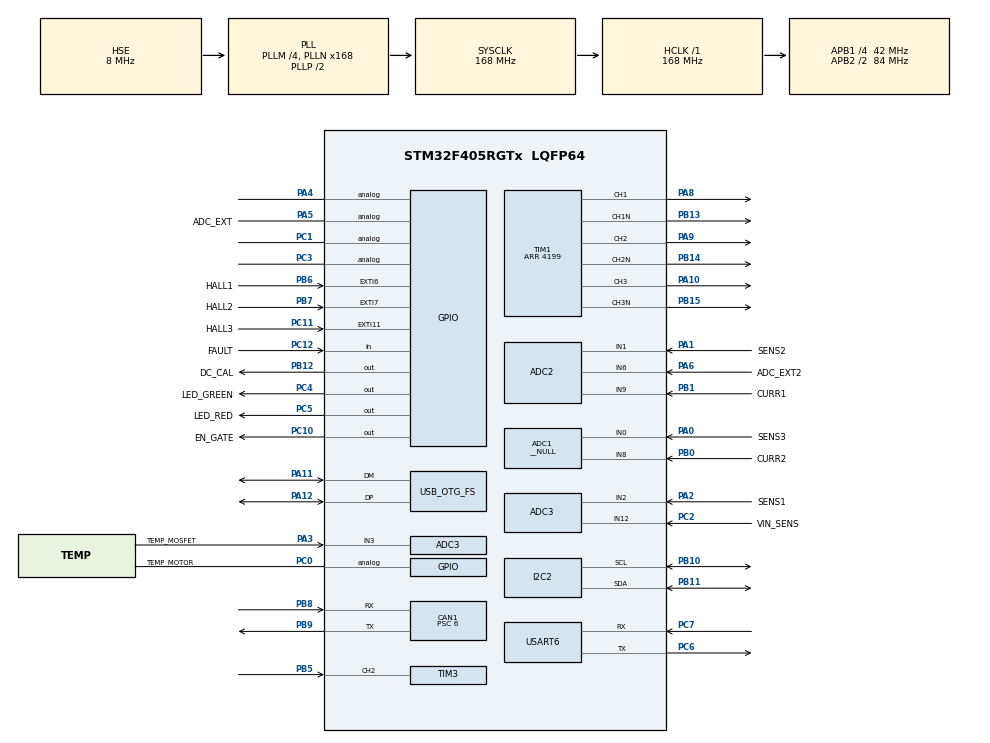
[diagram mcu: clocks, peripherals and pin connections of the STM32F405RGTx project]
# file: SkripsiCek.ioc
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ADC1.Channel-0\#ChannelRegularConversion=ADC_CHANNEL_0
ADC1.Channel-2\#ChannelRegularConversion=ADC_CHANNEL_8
ADC1.Channel-3\#ChannelRegularConversion=ADC_CHANNEL_VREFINT
ADC1.ClockPrescaler=ADC_CLOCK_SYNC_PCLK_DIV6
ADC1.ContinuousConvMode=DISABLE
ADC1.DMAContinuousRequests=ENABLE
ADC1.ExternalTrigConv=ADC_EXTERNALTRIGCONV_T2_CC2
ADC1.ExternalTrigConvEdge=ADC_EXTERNALTRIGCONVEDGE_RISING
ADC1.InjNumberOfConversion=0
ADC1.Mode=__NULL
ADC1.NbrOfConversion=3
ADC1.NbrOfConversionFlag=1
ADC1.Rank-0\#ChannelRegularConversion=1
ADC1.Rank-2\#ChannelRegularConversion=2
ADC1.Rank-3\#ChannelRegularConversion=3
ADC1.SamplingTime-0\#ChannelRegularConversion=ADC_SAMPLETIME_15CYCLES
ADC1.SamplingTime-2\#ChannelRegularConversion=ADC_SAMPLETIME_15CYCLES
ADC1.SamplingTime-3\#ChannelRegularConversion=ADC_SAMPLETIME_144CYCLES
ADC1.ScanConvMode=ENABLE
ADC1.master=1
ADC2.Channel-1\#ChannelRegularConversion=ADC_CHANNEL_1
ADC2.Channel-2\#ChannelRegularConversion=ADC_CHANNEL_9
ADC2.Channel-3\#ChannelRegularConversion=ADC_CHANNEL_6
ADC2.ClockPrescaler=ADC_CLOCK_SYNC_PCLK_DIV6
ADC2.DMAContinuousRequests=ENABLE
ADC2.ExternalTrigConv=ADC_EXTERNALTRIGCONV_T2_CC2
ADC2.InjNumberOfConversion=0
ADC2.NbrOfConversion=3
ADC2.NbrOfConversionFlag=1
ADC2.Rank-1\#ChannelRegularConversion=1
ADC2.Rank-2\#ChannelRegularConversion=2
ADC2.Rank-3\#ChannelRegularConversion=3
ADC2.SamplingTime-1\#ChannelRegularConversion=ADC_SAMPLETIME_15CYCLES
ADC2.SamplingTime-2\#ChannelRegularConversion=ADC_SAMPLETIME_15CYCLES
ADC2.SamplingTime-3\#ChannelRegularConversion=ADC_SAMPLETIME_15CYCLES
ADC3.Channel-0\#ChannelRegularConversion=ADC_CHANNEL_2
ADC3.Channel-1\#ChannelRegularConversion=ADC_CHANNEL_3
ADC3.Channel-2\#ChannelRegularConversion=ADC_CHANNEL_12
ADC3.ClockPrescaler=ADC_CLOCK_SYNC_PCLK_DIV6
ADC3.DMAContinuousRequests=ENABLE
ADC3.ExternalTrigConv=ADC_EXTERNALTRIGCONV_T2_CC2
ADC3.ExternalTrigConvEdge=ADC_EXTERNALTRIGCONVEDGE_RISING
ADC3.NbrOfConversion=3
ADC3.NbrOfConversionFlag=1
ADC3.Rank-0\#ChannelRegularConversion=1
ADC3.Rank-1\#ChannelRegularConversion=2
ADC3.Rank-2\#ChannelRegularConversion=3
ADC3.SamplingTime-0\#ChannelRegularConversion=ADC_SAMPLETIME_15CYCLES
ADC3.SamplingTime-1\#ChannelRegularConversion=ADC_SAMPLETIME_15CYCLES
ADC3.SamplingTime-2\#ChannelRegularConversion=ADC_SAMPLETIME_15CYCLES
ADC3.ScanConvMode=ENABLE
CAN1.BS1=CAN_BS1_10TQ
CAN1.BS2=CAN_BS2_3TQ
CAN1.CalculateBaudRate=500000
CAN1.CalculateTimeBit=2000
CAN1.CalculateTimeQuantum=142.85714285714286
CAN1.Prescaler=6
Dma.ADC1.0.Direction=DMA_PERIPH_TO_MEMORY
Dma.ADC1.0.FIFOMode=DMA_FIFOMODE_DISABLE
Dma.ADC1.0.Instance=DMA2_Stream4
Dma.ADC1.0.MemDataAlignment=DMA_MDATAALIGN_HALFWORD
Dma.ADC1.0.MemInc=DMA_MINC_ENABLE
Dma.ADC1.0.Mode=DMA_CIRCULAR
Dma.ADC1.0.PeriphDataAlignment=DMA_PDATAALIGN_HALFWORD
Dma.ADC1.0.PeriphInc=DMA_PINC_DISABLE
Dma.ADC1.0.Priority=DMA_PRIORITY_VERY_HIGH
Dma.ADC2.2.Direction=DMA_PERIPH_TO_MEMORY
Dma.ADC2.2.FIFOMode=DMA_FIFOMODE_DISABLE
Dma.ADC2.2.Instance=DMA2_Stream2
Dma.ADC2.2.MemDataAlignment=DMA_MDATAALIGN_HALFWORD
Dma.ADC2.2.MemInc=DMA_MINC_ENABLE
Dma.ADC2.2.Mode=DMA_CIRCULAR
Dma.ADC2.2.PeriphDataAlignment=DMA_PDATAALIGN_HALFWORD
Dma.ADC2.2.PeriphInc=DMA_PINC_DISABLE
Dma.ADC2.2.Priority=DMA_PRIORITY_VERY_HIGH
Dma.ADC3.1.Direction=DMA_PERIPH_TO_MEMORY
Dma.ADC3.1.FIFOMode=DMA_FIFOMODE_DISABLE
Dma.ADC3.1.Instance=DMA2_Stream1
Dma.ADC3.1.MemDataAlignment=DMA_MDATAALIGN_HALFWORD
Dma.ADC3.1.MemInc=DMA_MINC_ENABLE
Dma.ADC3.1.Mode=DMA_CIRCULAR
Dma.ADC3.1.PeriphDataAlignment=DMA_PDATAALIGN_HALFWORD
Dma.ADC3.1.PeriphInc=DMA_PINC_DISABLE
Dma.ADC3.1.Priority=DMA_PRIORITY_VERY_HIGH
Dma.Request0=ADC1
Dma.Request1=ADC3
Dma.Request2=ADC2
Mcu.Family=STM32F4
Mcu.Name=STM32F405RGTx
Mcu.Package=LQFP64
NVIC.DMA2_Stream1_IRQn=true\:0\:0\:false\:false\:true\:false\:true\:true
NVIC.DMA2_Stream2_IRQn=true\:0\:0\:false\:false\:true\:false\:true\:true
NVIC.DMA2_Stream4_IRQn=true\:0\:0\:false\:false\:true\:false\:true\:true
NVIC.EXTI15_10_IRQn=true\:5\:0\:true\:false\:true\:true\:true\:true
NVIC.EXTI9_5_IRQn=true\:5\:0\:true\:false\:true\:true\:true\:true
NVIC.PriorityGroup=NVIC_PRIORITYGROUP_4
NVIC.USART6_IRQn=true\:0\:0\:false\:false\:true\:true\:true\:true
PA0-WKUP.GPIO_Label=SENS3
PA0-WKUP.Signal=SharedAnalog_PA0
PA1.GPIO_Label=SENS2
PA1.Signal=SharedAnalog_PA1
PA10.GPIO_Speed=GPIO_SPEED_FREQ_VERY_HIGH
PA10.Signal=S_TIM1_CH3
PA11.Mode=Device_Only
PA11.Signal=USB_OTG_FS_DM
PA12.Mode=Device_Only
PA12.Signal=USB_OTG_FS_DP
PA13.Mode=Serial_Wire
PA13.Signal=SYS_JTMS-SWDIO
PA14.Mode=Serial_Wire
PA14.Signal=SYS_JTCK-SWCLK
PA2.GPIO_Label=SENS1
PA2.Signal=SharedAnalog_PA2
PA3.GPIO_Label=TEMP_MOSFET
PA3.Signal=SharedAnalog_PA3
PA4.Signal=SharedAnalog_PA4
PA5.GPIO_Label=ADC_EXT
PA5.Signal=SharedAnalog_PA5
PA6.GPIO_Label=ADC_EXT2
PA6.Signal=SharedAnalog_PA6
PA8.GPIO_Speed=GPIO_SPEED_FREQ_VERY_HIGH
PA8.Signal=S_TIM1_CH1
PA9.GPIO_Speed=GPIO_SPEED_FREQ_VERY_HIGH
PA9.Signal=S_TIM1_CH2
PB0.GPIO_Label=CURR2
PB0.Signal=SharedAnalog_PB0
PB1.GPIO_Label=CURR1
PB1.Signal=SharedAnalog_PB1
PB10.GPIO_Pu=GPIO_PULLUP
PB10.GPIO_Speed=GPIO_SPEED_FREQ_MEDIUM
PB10.Mode=I2C
PB10.Signal=I2C2_SCL
PB11.GPIO_Pu=GPIO_PULLUP
PB11.GPIO_Speed=GPIO_SPEED_FREQ_MEDIUM
PB11.Mode=I2C
PB11.Signal=I2C2_SDA
PB12.GPIO_Label=DC_CAL
PB12.GPIO_Speed=GPIO_SPEED_FREQ_VERY_HIGH
PB12.Signal=GPIO_Output
PB13.GPIO_Speed=GPIO_SPEED_FREQ_VERY_HIGH
PB13.Mode=PWM Generation1 CH1 CH1N
PB13.Signal=TIM1_CH1N
PB14.GPIO_Speed=GPIO_SPEED_FREQ_VERY_HIGH
PB14.Mode=PWM Generation2 CH2 CH2N
PB14.Signal=TIM1_CH2N
PB15.GPIO_Speed=GPIO_SPEED_FREQ_VERY_HIGH
PB15.Mode=PWM Generation3 CH3 CH3N
PB15.Signal=TIM1_CH3N
PB5.Signal=S_TIM3_CH2
PB6.GPIO_Label=HALL1
PB6.GPIO_ModeDefaultEXTI=GPIO_MODE_IT_RISING_FALLING
PB6.GPIO_PuPd=GPIO_PULLUP
PB6.Signal=GPXTI6
PB7.GPIO_Label=HALL2
PB7.GPIO_ModeDefaultEXTI=GPIO_MODE_IT_RISING_FALLING
PB7.GPIO_PuPd=GPIO_PULLUP
PB7.Signal=GPXTI7
PB8.Mode=CAN_Activate
PB8.Signal=CAN1_RX
PB9.Mode=CAN_Activate
PB9.Signal=CAN1_TX
PC0.GPIO_Label=TEMP_MOTOR
PC0.Signal=SharedAnalog_PC0
PC1.Signal=GPIO_Analog
PC10.GPIO_Label=EN_GATE
PC10.GPIO_Speed=GPIO_SPEED_FREQ_VERY_HIGH
PC10.Signal=GPIO_Output
PC11.GPIO_Label=HALL3
PC11.GPIO_ModeDefaultEXTI=GPIO_MODE_IT_RISING_FALLING
PC11.GPIO_PuPd=GPIO_PULLUP
PC11.Signal=GPXTI11
PC12.GPIO_Label=FAULT
PC12.GPIO_PuPd=GPIO_PULLUP
PC12.Signal=GPIO_Input
PC2.GPIO_Label=VIN_SENS
PC2.Signal=SharedAnalog_PC2
PC3.Signal=GPIO_Analog
PC4.GPIO_Label=LED_GREEN
PC4.GPIO_Speed=GPIO_SPEED_FREQ_VERY_HIGH
PC4.Signal=GPIO_Output
PC5.GPIO_Label=LED_RED
PC5.GPIO_Speed=GPIO_SPEED_FREQ_VERY_HIGH
PC5.Signal=GPIO_Output
PC6.Mode=Asynchronous
PC6.Signal=USART6_TX
PC7.Mode=Asynchronous
PC7.Signal=USART6_RX
PH0-OSC_IN.Mode=HSE-External-Oscillator
PH0-OSC_IN.Signal=RCC_OSC_IN
PH1-OSC_OUT.Mode=HSE-External-Oscillator
PH1-OSC_OUT.Signal=RCC_OSC_OUT
ProjectManager.HeapSize=0x200
ProjectManager.StackSize=0x400
ProjectManager.TargetToolchain=STM32CubeIDE
RCC.48MHZClocksFreq_Value=48000000
RCC.AHBFreq_Value=168000000
RCC.APB1CLKDivider=RCC_HCLK_DIV4
RCC.APB1Freq_Value=42000000
RCC.APB1TimFreq_Value=84000000
RCC.APB2CLKDivider=RCC_HCLK_DIV2
RCC.APB2Freq_Value=84000000
RCC.APB2TimFreq_Value=168000000
RCC.CortexFreq_Value=168000000
RCC.HCLKFreq_Value=168000000
RCC.HSE_VALUE=8000000
RCC.HSI_VALUE=16000000
RCC.LSE_VALUE=32768
RCC.PLLM=4
RCC.PLLN=168
RCC.PLLQ=7
RCC.SYSCLKFreq_VALUE=168000000
RCC.SYSCLKSource=RCC_SYSCLKSOURCE_PLLCLK
RCC.VCOOutputFreq_Value=336000000
SH.S_TIM1_CH1.0=TIM1_CH1,PWM Generation1 CH1 CH1N
SH.S_TIM1_CH2.0=TIM1_CH2,PWM Generation2 CH2 CH2N
SH.S_TIM1_CH3.0=TIM1_CH3,PWM Generation3 CH3 CH3N
SH.S_TIM3_CH2.0=TIM3_CH2,Input_Capture2_from_TI2
SH.SharedAnalog_PA0.0=GPIO_Analog
SH.SharedAnalog_PA0.1=ADC1_IN0,IN0
SH.SharedAnalog_PA1.0=GPIO_Analog
SH.SharedAnalog_PA1.1=ADC2_IN1,IN1
SH.SharedAnalog_PA2.0=GPIO_Analog
SH.SharedAnalog_PA2.1=ADC3_IN2,IN2
SH.SharedAnalog_PA3.0=GPIO_Analog
SH.SharedAnalog_PA3.1=ADC3_IN3,IN3
SH.SharedAnalog_PA4.0=GPIO_Analog
SH.SharedAnalog_PA4.1=ADC1_IN4
SH.SharedAnalog_PA5.0=GPIO_Analog
SH.SharedAnalog_PA5.1=ADC2_IN5
SH.SharedAnalog_PA6.0=GPIO_Analog
SH.SharedAnalog_PA6.1=ADC2_IN6,IN6
SH.SharedAnalog_PB0.0=GPIO_Analog
SH.SharedAnalog_PB0.1=ADC1_IN8,IN8
SH.SharedAnalog_PB1.0=GPIO_Analog
SH.SharedAnalog_PB1.1=ADC2_IN9,IN9
SH.SharedAnalog_PC0.0=GPIO_Analog
SH.SharedAnalog_PC0.1=ADC3_IN10
SH.SharedAnalog_PC2.0=GPIO_Analog
SH.SharedAnalog_PC2.1=ADC3_IN12,IN12
TIM1.AutoReloadPreload=TIM_AUTORELOAD_PRELOAD_ENABLE
TIM1.AutomaticOutput=TIM_AUTOMATICOUTPUT_DISABLE
TIM1.Channel-PWM\ Generation1\ CH1\ CH1N=TIM_CHANNEL_1
TIM1.Channel-PWM\ Generation2\ CH2\ CH2N=TIM_CHANNEL_2
TIM1.Channel-PWM\ Generation3\ CH3\ CH3N=TIM_CHANNEL_3
TIM1.CounterMode=TIM_COUNTERMODE_CENTERALIGNED1
TIM1.DeadTime=86
TIM1.OffStateRunMode=TIM_OSSR_DISABLE
TIM1.Period=4199
TIM1.Pulse-PWM\ Generation1\ CH1\ CH1N=840
TIM1.Pulse-PWM\ Generation2\ CH2\ CH2N=840
TIM1.Pulse-PWM\ Generation3\ CH3\ CH3N=840
TIM1.RepetitionCounter=1
TIM1.TIM_MasterOutputTrigger=TIM_TRGO_UPDATE
TIM1.TIM_MasterSlaveMode=TIM_MASTERSLAVEMODE_ENABLE
TIM2.Channel-PWM\ Generation2\ No\ Output=TIM_CHANNEL_2
TIM2.OCMode_PWM-PWM\ Generation2\ No\ Output=TIM_OCMODE_PWM2
TIM2.Period=4199
TIM2.Pulse-PWM\ Generation2\ No\ Output=1800
TIM2.TIM_MasterOutputTrigger=TIM_TRGO_OC2REF
TIM2.TIM_MasterSlaveMode=TIM_MASTERSLAVEMODE_DISABLE
TIM3.Channel-Input_Capture2_from_TI2=TIM_CHANNEL_2
TIM3.Prescaler=83
TIM5.Prescaler=83
USART6.VirtualMode=VM_ASYNC
USB_OTG_FS.VirtualMode=Device_Only
VP_ADC1_Vref_Input.Mode=IN-Vrefint
VP_TIM1_VS_ClockSourceINT.Mode=Internal
VP_TIM2_VS_ClockSourceINT.Mode=Internal
VP_TIM2_VS_ClockSourceITR.Mode=TriggerSource_ITR0
VP_TIM2_VS_ControllerModeReset.Mode=Reset Mode
VP_TIM2_VS_no_output2.Mode=PWM Generation2 No Output
VP_TIM3_VS_ClockSourceINT.Mode=Internal
VP_TIM5_VS_ClockSourceINT.Mode=Internal
board=custom

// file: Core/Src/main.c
/* USER CODE BEGIN Header */
/**
  ******************************************************************************
  * @file           : main.c
  * @brief          : Main program body
  ******************************************************************************
  * @attention
  *
  * Copyright (c) 2025 STMicroelectronics.
  * All rights reserved.
  *
  * This software is licensed under terms that can be found in the LICENSE file
  * in the root directory of this software component.
  * If no LICENSE file comes with this software, it is provided AS-IS.
  *
  ******************************************************************************
  */
/* USER CODE END Header */
#include "main.h"

/* USER CODE BEGIN Includes */

#include <stdio.h>
#include <string.h>
#include <stdlib.h>
#include <math.h>
#include "phase2_test.h"
#include "adc_sense.h"
#include "hall_sensor.h"

/* USER CODE END Includes */

ADC_HandleTypeDef hadc1;
ADC_HandleTypeDef hadc2;
ADC_HandleTypeDef hadc3;
DMA_HandleTypeDef hdma_adc1;
DMA_HandleTypeDef hdma_adc2;
DMA_HandleTypeDef hdma_adc3;

CAN_HandleTypeDef hcan1;

I2C_HandleTypeDef hi2c2;

TIM_HandleTypeDef htim1;
TIM_HandleTypeDef htim2;
TIM_HandleTypeDef htim3;
TIM_HandleTypeDef htim5;

UART_HandleTypeDef huart6;

PCD_HandleTypeDef hpcd_USB_OTG_FS;

void SystemClock_Config(void);
static void MX_GPIO_Init(void);
static void MX_DMA_Init(void);
static void MX_ADC1_Init(void);
static void MX_ADC2_Init(void);
static void MX_ADC3_Init(void);
static void MX_CAN1_Init(void);
static void MX_I2C2_Init(void);
static void MX_TIM1_Init(void);
static void MX_TIM3_Init(void);
static void MX_USART6_UART_Init(void);
static void MX_USB_OTG_FS_PCD_Init(void);
static void MX_TIM2_Init(void);
static void MX_TIM5_Init(void);

int main(void)
{

  /* MCU Configuration--------------------------------------------------------*/

  /* Reset of all peripherals, Initializes the Flash interface and the Systick. */
  HAL_Init();

  /* Configure the system clock */
  SystemClock_Config();

  /* Initialize all configured peripherals */
  MX_GPIO_Init();
  MX_DMA_Init();
  MX_ADC1_Init();
  MX_ADC2_Init();
  MX_ADC3_Init();
  MX_CAN1_Init();
  MX_I2C2_Init();
  MX_TIM1_Init();
  MX_TIM3_Init();
  MX_USART6_UART_Init();
  MX_USB_OTG_FS_PCD_Init();
  MX_TIM2_Init();
  MX_TIM5_Init();
  /* USER CODE BEGIN 2 */
  if (HAL_TIM_Base_Start(&htim5) != HAL_OK)
  {
      Error_Handler();
  }

  Hall_Init();

  adc_sense_init();

  phase2_test_init(&huart6);

  if (adc_sense_start() != HAL_OK)
  {
      Error_Handler();
  }

  /* USER CODE END 2 */

  /* Infinite loop */
  /* USER CODE BEGIN WHILE */
  while (1)
  {
	  phase2_test_poll();
    /* USER CODE END WHILE */

  }
}

void SystemClock_Config(void)
{
  RCC_OscInitTypeDef RCC_OscInitStruct = {0};
  RCC_ClkInitTypeDef RCC_ClkInitStruct = {0};

  /** Configure the main internal regulator output voltage
  */
  __HAL_RCC_PWR_CLK_ENABLE();
  __HAL_PWR_VOLTAGESCALING_CONFIG(PWR_REGULATOR_VOLTAGE_SCALE1);

  /** Initializes the RCC Oscillators according to the specified parameters
  * in the RCC_OscInitTypeDef structure.
  */
  RCC_OscInitStruct.OscillatorType = RCC_OSCILLATORTYPE_HSE;
  RCC_OscInitStruct.HSEState = RCC_HSE_ON;
  RCC_OscInitStruct.PLL.PLLState = RCC_PLL_ON;
  RCC_OscInitStruct.PLL.PLLSource = RCC_PLLSOURCE_HSE;
  RCC_OscInitStruct.PLL.PLLM = 4;
  RCC_OscInitStruct.PLL.PLLN = 168;
  RCC_OscInitStruct.PLL.PLLP = RCC_PLLP_DIV2;
  RCC_OscInitStruct.PLL.PLLQ = 7;
  if (HAL_RCC_OscConfig(&RCC_OscInitStruct) != HAL_OK)
  {
    Error_Handler();
  }

  /** Initializes the CPU, AHB and APB buses clocks
  */
  RCC_ClkInitStruct.ClockType = RCC_CLOCKTYPE_HCLK|RCC_CLOCKTYPE_SYSCLK
                              |RCC_CLOCKTYPE_PCLK1|RCC_CLOCKTYPE_PCLK2;
  RCC_ClkInitStruct.SYSCLKSource = RCC_SYSCLKSOURCE_PLLCLK;
  RCC_ClkInitStruct.AHBCLKDivider = RCC_SYSCLK_DIV1;
  RCC_ClkInitStruct.APB1CLKDivider = RCC_HCLK_DIV4;
  RCC_ClkInitStruct.APB2CLKDivider = RCC_HCLK_DIV2;

  if (HAL_RCC_ClockConfig(&RCC_ClkInitStruct, FLASH_LATENCY_5) != HAL_OK)
  {
    Error_Handler();
  }
}

static void MX_ADC1_Init(void)
{

  ADC_ChannelConfTypeDef sConfig = {0};

  /** Configure the global features of the ADC (Clock, Resolution, Data Alignment and number of conversion)
  */
  hadc1.Instance = ADC1;
  hadc1.Init.ClockPrescaler = ADC_CLOCK_SYNC_PCLK_DIV6;
  hadc1.Init.Resolution = ADC_RESOLUTION_12B;
  hadc1.Init.ScanConvMode = ENABLE;
  hadc1.Init.ContinuousConvMode = DISABLE;
  hadc1.Init.DiscontinuousConvMode = DISABLE;
  hadc1.Init.ExternalTrigConvEdge = ADC_EXTERNALTRIGCONVEDGE_RISING;
  hadc1.Init.ExternalTrigConv = ADC_EXTERNALTRIGCONV_T2_CC2;
  hadc1.Init.DataAlign = ADC_DATAALIGN_RIGHT;
  hadc1.Init.NbrOfConversion = 3;
  hadc1.Init.DMAContinuousRequests = ENABLE;
  hadc1.Init.EOCSelection = ADC_EOC_SINGLE_CONV;
  if (HAL_ADC_Init(&hadc1) != HAL_OK)
  {
    Error_Handler();
  }

  /** Configure for the selected ADC regular channel its corresponding rank in the sequencer and its sample time.
  */
  sConfig.Channel = ADC_CHANNEL_0;
  sConfig.Rank = 1;
  sConfig.SamplingTime = ADC_SAMPLETIME_15CYCLES;
  if (HAL_ADC_ConfigChannel(&hadc1, &sConfig) != HAL_OK)
  {
    Error_Handler();
  }

  /** Configure for the selected ADC regular channel its corresponding rank in the sequencer and its sample time.
  */
  sConfig.Channel = ADC_CHANNEL_8;
  sConfig.Rank = 2;
  if (HAL_ADC_ConfigChannel(&hadc1, &sConfig) != HAL_OK)
  {
    Error_Handler();
  }

  /** Configure for the selected ADC regular channel its corresponding rank in the sequencer and its sample time.
  */
  sConfig.Channel = ADC_CHANNEL_VREFINT;
  sConfig.Rank = 3;
  sConfig.SamplingTime = ADC_SAMPLETIME_144CYCLES;
  if (HAL_ADC_ConfigChannel(&hadc1, &sConfig) != HAL_OK)
  {
    Error_Handler();
  }

}

static void MX_ADC2_Init(void)
{

  ADC_ChannelConfTypeDef sConfig = {0};

  /** Configure the global features of the ADC (Clock, Resolution, Data Alignment and number of conversion)
  */
  hadc2.Instance = ADC2;
  hadc2.Init.ClockPrescaler = ADC_CLOCK_SYNC_PCLK_DIV6;
  hadc2.Init.Resolution = ADC_RESOLUTION_12B;
  hadc2.Init.ScanConvMode = ENABLE;
  hadc2.Init.ContinuousConvMode = DISABLE;
  hadc2.Init.DiscontinuousConvMode = DISABLE;
  hadc2.Init.ExternalTrigConvEdge = ADC_EXTERNALTRIGCONVEDGE_RISING;
  hadc2.Init.ExternalTrigConv = ADC_EXTERNALTRIGCONV_T2_CC2;
  hadc2.Init.DataAlign = ADC_DATAALIGN_RIGHT;
  hadc2.Init.NbrOfConversion = 3;
  hadc2.Init.DMAContinuousRequests = ENABLE;
  hadc2.Init.EOCSelection = ADC_EOC_SINGLE_CONV;
  if (HAL_ADC_Init(&hadc2) != HAL_OK)
  {
    Error_Handler();
  }

  /** Configure for the selected ADC regular channel its corresponding rank in the sequencer and its sample time.
  */
  sConfig.Channel = ADC_CHANNEL_1;
  sConfig.Rank = 1;
  sConfig.SamplingTime = ADC_SAMPLETIME_15CYCLES;
  if (HAL_ADC_ConfigChannel(&hadc2, &sConfig) != HAL_OK)
  {
    Error_Handler();
  }

  /** Configure for the selected ADC regular channel its corresponding rank in the sequencer and its sample time.
  */
  sConfig.Channel = ADC_CHANNEL_9;
  sConfig.Rank = 2;
  if (HAL_ADC_ConfigChannel(&hadc2, &sConfig) != HAL_OK)
  {
    Error_Handler();
  }

  /** Configure for the selected ADC regular channel its corresponding rank in the sequencer and its sample time.
  */
  sConfig.Channel = ADC_CHANNEL_6;
  sConfig.Rank = 3;
  if (HAL_ADC_ConfigChannel(&hadc2, &sConfig) != HAL_OK)
  {
    Error_Handler();
  }

}

static void MX_ADC3_Init(void)
{

  ADC_ChannelConfTypeDef sConfig = {0};

  /** Configure the global features of the ADC (Clock, Resolution, Data Alignment and number of conversion)
  */
  hadc3.Instance = ADC3;
  hadc3.Init.ClockPrescaler = ADC_CLOCK_SYNC_PCLK_DIV6;
  hadc3.Init.Resolution = ADC_RESOLUTION_12B;
  hadc3.Init.ScanConvMode = ENABLE;
  hadc3.Init.ContinuousConvMode = DISABLE;
  hadc3.Init.DiscontinuousConvMode = DISABLE;
  hadc3.Init.ExternalTrigConvEdge = ADC_EXTERNALTRIGCONVEDGE_RISING;
  hadc3.Init.ExternalTrigConv = ADC_EXTERNALTRIGCONV_T2_CC2;
  hadc3.Init.DataAlign = ADC_DATAALIGN_RIGHT;
  hadc3.Init.NbrOfConversion = 3;
  hadc3.Init.DMAContinuousRequests = ENABLE;
  hadc3.Init.EOCSelection = ADC_EOC_SINGLE_CONV;
  if (HAL_ADC_Init(&hadc3) != HAL_OK)
  {
    Error_Handler();
  }

  /** Configure for the selected ADC regular channel its corresponding rank in the sequencer and its sample time.
  */
  sConfig.Channel = ADC_CHANNEL_2;
  sConfig.Rank = 1;
  sConfig.SamplingTime = ADC_SAMPLETIME_15CYCLES;
  if (HAL_ADC_ConfigChannel(&hadc3, &sConfig) != HAL_OK)
  {
    Error_Handler();
  }

  /** Configure for the selected ADC regular channel its corresponding rank in the sequencer and its sample time.
  */
  sConfig.Channel = ADC_CHANNEL_3;
  sConfig.Rank = 2;
  if (HAL_ADC_ConfigChannel(&hadc3, &sConfig) != HAL_OK)
  {
    Error_Handler();
  }

  /** Configure for the selected ADC regular channel its corresponding rank in the sequencer and its sample time.
  */
  sConfig.Channel = ADC_CHANNEL_12;
  sConfig.Rank = 3;
  if (HAL_ADC_ConfigChannel(&hadc3, &sConfig) != HAL_OK)
  {
    Error_Handler();
  }

}

static void MX_CAN1_Init(void)
{

  hcan1.Instance = CAN1;
  hcan1.Init.Prescaler = 6;
  hcan1.Init.Mode = CAN_MODE_NORMAL;
  hcan1.Init.SyncJumpWidth = CAN_SJW_1TQ;
  hcan1.Init.TimeSeg1 = CAN_BS1_10TQ;
  hcan1.Init.TimeSeg2 = CAN_BS2_3TQ;
  hcan1.Init.TimeTriggeredMode = DISABLE;
  hcan1.Init.AutoBusOff = DISABLE;
  hcan1.Init.AutoWakeUp = DISABLE;
  hcan1.Init.AutoRetransmission = DISABLE;
  hcan1.Init.ReceiveFifoLocked = DISABLE;
  hcan1.Init.TransmitFifoPriority = DISABLE;
  if (HAL_CAN_Init(&hcan1) != HAL_OK)
  {
    Error_Handler();
  }

}

static void MX_I2C2_Init(void)
{

  hi2c2.Instance = I2C2;
  hi2c2.Init.ClockSpeed = 100000;
  hi2c2.Init.DutyCycle = I2C_DUTYCYCLE_2;
  hi2c2.Init.OwnAddress1 = 0;
  hi2c2.Init.AddressingMode = I2C_ADDRESSINGMODE_7BIT;
  hi2c2.Init.DualAddressMode = I2C_DUALADDRESS_DISABLE;
  hi2c2.Init.OwnAddress2 = 0;
  hi2c2.Init.GeneralCallMode = I2C_GENERALCALL_DISABLE;
  hi2c2.Init.NoStretchMode = I2C_NOSTRETCH_DISABLE;
  if (HAL_I2C_Init(&hi2c2) != HAL_OK)
  {
    Error_Handler();
  }

}

static void MX_TIM1_Init(void)
{

  TIM_ClockConfigTypeDef sClockSourceConfig = {0};
  TIM_MasterConfigTypeDef sMasterConfig = {0};
  TIM_OC_InitTypeDef sConfigOC = {0};
  TIM_BreakDeadTimeConfigTypeDef sBreakDeadTimeConfig = {0};

  htim1.Instance = TIM1;
  htim1.Init.Prescaler = 0;
  htim1.Init.CounterMode = TIM_COUNTERMODE_CENTERALIGNED1;
  htim1.Init.Period = 4199;
  htim1.Init.ClockDivision = TIM_CLOCKDIVISION_DIV1;
  htim1.Init.RepetitionCounter = 1;
  htim1.Init.AutoReloadPreload = TIM_AUTORELOAD_PRELOAD_ENABLE;
  if (HAL_TIM_Base_Init(&htim1) != HAL_OK)
  {
    Error_Handler();
  }
  sClockSourceConfig.ClockSource = TIM_CLOCKSOURCE_INTERNAL;
  if (HAL_TIM_ConfigClockSource(&htim1, &sClockSourceConfig) != HAL_OK)
  {
    Error_Handler();
  }
  if (HAL_TIM_PWM_Init(&htim1) != HAL_OK)
  {
    Error_Handler();
  }
  sMasterConfig.MasterOutputTrigger = TIM_TRGO_UPDATE;
  sMasterConfig.MasterSlaveMode = TIM_MASTERSLAVEMODE_ENABLE;
  if (HAL_TIMEx_MasterConfigSynchronization(&htim1, &sMasterConfig) != HAL_OK)
  {
    Error_Handler();
  }
  sConfigOC.OCMode = TIM_OCMODE_PWM1;
  sConfigOC.Pulse = 840;
  sConfigOC.OCPolarity = TIM_OCPOLARITY_HIGH;
  sConfigOC.OCNPolarity = TIM_OCNPOLARITY_HIGH;
  sConfigOC.OCFastMode = TIM_OCFAST_DISABLE;
  sConfigOC.OCIdleState = TIM_OCIDLESTATE_RESET;
  sConfigOC.OCNIdleState = TIM_OCNIDLESTATE_RESET;
  if (HAL_TIM_PWM_ConfigChannel(&htim1, &sConfigOC, TIM_CHANNEL_1) != HAL_OK)
  {
    Error_Handler();
  }
  if (HAL_TIM_PWM_ConfigChannel(&htim1, &sConfigOC, TIM_CHANNEL_2) != HAL_OK)
  {
    Error_Handler();
  }
  if (HAL_TIM_PWM_ConfigChannel(&htim1, &sConfigOC, TIM_CHANNEL_3) != HAL_OK)
  {
    Error_Handler();
  }
  sBreakDeadTimeConfig.OffStateRunMode = TIM_OSSR_DISABLE;
  sBreakDeadTimeConfig.OffStateIDLEMode = TIM_OSSI_DISABLE;
  sBreakDeadTimeConfig.LockLevel = TIM_LOCKLEVEL_OFF;
  sBreakDeadTimeConfig.DeadTime = 86;
  sBreakDeadTimeConfig.BreakState = TIM_BREAK_DISABLE;
  sBreakDeadTimeConfig.BreakPolarity = TIM_BREAKPOLARITY_HIGH;
  sBreakDeadTimeConfig.AutomaticOutput = TIM_AUTOMATICOUTPUT_DISABLE;
  if (HAL_TIMEx_ConfigBreakDeadTime(&htim1, &sBreakDeadTimeConfig) != HAL_OK)
  {
    Error_Handler();
  }
  HAL_TIM_MspPostInit(&htim1);

}

static void MX_TIM2_Init(void)
{

  TIM_ClockConfigTypeDef sClockSourceConfig = {0};
  TIM_SlaveConfigTypeDef sSlaveConfig = {0};
  TIM_MasterConfigTypeDef sMasterConfig = {0};
  TIM_OC_InitTypeDef sConfigOC = {0};

  htim2.Instance = TIM2;
  htim2.Init.Prescaler = 0;
  htim2.Init.CounterMode = TIM_COUNTERMODE_UP;
  htim2.Init.Period = 4199;
  htim2.Init.ClockDivision = TIM_CLOCKDIVISION_DIV1;
  htim2.Init.AutoReloadPreload = TIM_AUTORELOAD_PRELOAD_DISABLE;
  if (HAL_TIM_Base_Init(&htim2) != HAL_OK)
  {
    Error_Handler();
  }
  sClockSourceConfig.ClockSource = TIM_CLOCKSOURCE_INTERNAL;
  if (HAL_TIM_ConfigClockSource(&htim2, &sClockSourceConfig) != HAL_OK)
  {
    Error_Handler();
  }
  if (HAL_TIM_PWM_Init(&htim2) != HAL_OK)
  {
    Error_Handler();
  }
  sSlaveConfig.SlaveMode = TIM_SLAVEMODE_RESET;
  sSlaveConfig.InputTrigger = TIM_TS_ITR0;
  if (HAL_TIM_SlaveConfigSynchro(&htim2, &sSlaveConfig) != HAL_OK)
  {
    Error_Handler();
  }
  sMasterConfig.MasterOutputTrigger = TIM_TRGO_OC2REF;
  sMasterConfig.MasterSlaveMode = TIM_MASTERSLAVEMODE_DISABLE;
  if (HAL_TIMEx_MasterConfigSynchronization(&htim2, &sMasterConfig) != HAL_OK)
  {
    Error_Handler();
  }
  sConfigOC.OCMode = TIM_OCMODE_PWM2;
  sConfigOC.Pulse = 1800;
  sConfigOC.OCPolarity = TIM_OCPOLARITY_HIGH;
  sConfigOC.OCFastMode = TIM_OCFAST_DISABLE;
  if (HAL_TIM_PWM_ConfigChannel(&htim2, &sConfigOC, TIM_CHANNEL_2) != HAL_OK)
  {
    Error_Handler();
  }

}

static void MX_TIM3_Init(void)
{

  TIM_ClockConfigTypeDef sClockSourceConfig = {0};
  TIM_MasterConfigTypeDef sMasterConfig = {0};
  TIM_IC_InitTypeDef sConfigIC = {0};

  htim3.Instance = TIM3;
  htim3.Init.Prescaler = 83;
  htim3.Init.CounterMode = TIM_COUNTERMODE_UP;
  htim3.Init.Period = 65535;
  htim3.Init.ClockDivision = TIM_CLOCKDIVISION_DIV1;
  htim3.Init.AutoReloadPreload = TIM_AUTORELOAD_PRELOAD_DISABLE;
  if (HAL_TIM_Base_Init(&htim3) != HAL_OK)
  {
    Error_Handler();
  }
  sClockSourceConfig.ClockSource = TIM_CLOCKSOURCE_INTERNAL;
  if (HAL_TIM_ConfigClockSource(&htim3, &sClockSourceConfig) != HAL_OK)
  {
    Error_Handler();
  }
  if (HAL_TIM_IC_Init(&htim3) != HAL_OK)
  {
    Error_Handler();
  }
  sMasterConfig.MasterOutputTrigger = TIM_TRGO_RESET;
  sMasterConfig.MasterSlaveMode = TIM_MASTERSLAVEMODE_DISABLE;
  if (HAL_TIMEx_MasterConfigSynchronization(&htim3, &sMasterConfig) != HAL_OK)
  {
    Error_Handler();
  }
  sConfigIC.ICPolarity = TIM_INPUTCHANNELPOLARITY_RISING;
  sConfigIC.ICSelection = TIM_ICSELECTION_DIRECTTI;
  sConfigIC.ICPrescaler = TIM_ICPSC_DIV1;
  sConfigIC.ICFilter = 0;
  if (HAL_TIM_IC_ConfigChannel(&htim3, &sConfigIC, TIM_CHANNEL_2) != HAL_OK)
  {
    Error_Handler();
  }

}

static void MX_TIM5_Init(void)
{

  TIM_ClockConfigTypeDef sClockSourceConfig = {0};
  TIM_MasterConfigTypeDef sMasterConfig = {0};

  htim5.Instance = TIM5;
  htim5.Init.Prescaler = 83;
  htim5.Init.CounterMode = TIM_COUNTERMODE_UP;
  htim5.Init.Period = 4294967295;
  htim5.Init.ClockDivision = TIM_CLOCKDIVISION_DIV1;
  htim5.Init.AutoReloadPreload = TIM_AUTORELOAD_PRELOAD_DISABLE;
  if (HAL_TIM_Base_Init(&htim5) != HAL_OK)
  {
    Error_Handler();
  }
  sClockSourceConfig.ClockSource = TIM_CLOCKSOURCE_INTERNAL;
  if (HAL_TIM_ConfigClockSource(&htim5, &sClockSourceConfig) != HAL_OK)
  {
    Error_Handler();
  }
  sMasterConfig.MasterOutputTrigger = TIM_TRGO_RESET;
  sMasterConfig.MasterSlaveMode = TIM_MASTERSLAVEMODE_DISABLE;
  if (HAL_TIMEx_MasterConfigSynchronization(&htim5, &sMasterConfig) != HAL_OK)
  {
    Error_Handler();
  }

}

static void MX_USART6_UART_Init(void)
{

  huart6.Instance = USART6;
  huart6.Init.BaudRate = 115200;
  huart6.Init.WordLength = UART_WORDLENGTH_8B;
  huart6.Init.StopBits = UART_STOPBITS_1;
  huart6.Init.Parity = UART_PARITY_NONE;
  huart6.Init.Mode = UART_MODE_TX_RX;
  huart6.Init.HwFlowCtl = UART_HWCONTROL_NONE;
  huart6.Init.OverSampling = UART_OVERSAMPLING_16;
  if (HAL_UART_Init(&huart6) != HAL_OK)
  {
    Error_Handler();
  }

}

static void MX_USB_OTG_FS_PCD_Init(void)
{

  hpcd_USB_OTG_FS.Instance = USB_OTG_FS;
  hpcd_USB_OTG_FS.Init.dev_endpoints = 4;
  hpcd_USB_OTG_FS.Init.speed = PCD_SPEED_FULL;
  hpcd_USB_OTG_FS.Init.dma_enable = DISABLE;
  hpcd_USB_OTG_FS.Init.phy_itface = PCD_PHY_EMBEDDED;
  hpcd_USB_OTG_FS.Init.Sof_enable = DISABLE;
  hpcd_USB_OTG_FS.Init.low_power_enable = DISABLE;
  hpcd_USB_OTG_FS.Init.lpm_enable = DISABLE;
  hpcd_USB_OTG_FS.Init.vbus_sensing_enable = DISABLE;
  hpcd_USB_OTG_FS.Init.use_dedicated_ep1 = DISABLE;
  if (HAL_PCD_Init(&hpcd_USB_OTG_FS) != HAL_OK)
  {
    Error_Handler();
  }

}

static void MX_DMA_Init(void)
{

  /* DMA controller clock enable */
  __HAL_RCC_DMA2_CLK_ENABLE();

  /* DMA interrupt init */
  /* DMA2_Stream1_IRQn interrupt configuration */
  HAL_NVIC_SetPriority(DMA2_Stream1_IRQn, 0, 0);
  HAL_NVIC_EnableIRQ(DMA2_Stream1_IRQn);
  /* DMA2_Stream2_IRQn interrupt configuration */
  HAL_NVIC_SetPriority(DMA2_Stream2_IRQn, 0, 0);
  HAL_NVIC_EnableIRQ(DMA2_Stream2_IRQn);
  /* DMA2_Stream4_IRQn interrupt configuration */
  HAL_NVIC_SetPriority(DMA2_Stream4_IRQn, 0, 0);
  HAL_NVIC_EnableIRQ(DMA2_Stream4_IRQn);

}

static void MX_GPIO_Init(void)
{
  GPIO_InitTypeDef GPIO_InitStruct = {0};

  /* GPIO Ports Clock Enable */
  __HAL_RCC_GPIOH_CLK_ENABLE();
  __HAL_RCC_GPIOC_CLK_ENABLE();
  __HAL_RCC_GPIOA_CLK_ENABLE();
  __HAL_RCC_GPIOB_CLK_ENABLE();

  /*Configure GPIO pin Output Level */
  HAL_GPIO_WritePin(GPIOC, LED_GREEN_Pin|LED_RED_Pin|EN_GATE_Pin, GPIO_PIN_RESET);

  /*Configure GPIO pin Output Level */
  HAL_GPIO_WritePin(DC_CAL_GPIO_Port, DC_CAL_Pin, GPIO_PIN_RESET);

  /*Configure GPIO pins : PC1 PC3 */
  GPIO_InitStruct.Pin = GPIO_PIN_1|GPIO_PIN_3;
  GPIO_InitStruct.Mode = GPIO_MODE_ANALOG;
  GPIO_InitStruct.Pull = GPIO_NOPULL;
  HAL_GPIO_Init(GPIOC, &GPIO_InitStruct);

  /*Configure GPIO pins : LED_GREEN_Pin LED_RED_Pin EN_GATE_Pin */
  GPIO_InitStruct.Pin = LED_GREEN_Pin|LED_RED_Pin|EN_GATE_Pin;
  GPIO_InitStruct.Mode = GPIO_MODE_OUTPUT_PP;
  GPIO_InitStruct.Pull = GPIO_NOPULL;
  GPIO_InitStruct.Speed = GPIO_SPEED_FREQ_VERY_HIGH;
  HAL_GPIO_Init(GPIOC, &GPIO_InitStruct);

  /*Configure GPIO pin : DC_CAL_Pin */
  GPIO_InitStruct.Pin = DC_CAL_Pin;
  GPIO_InitStruct.Mode = GPIO_MODE_OUTPUT_PP;
  GPIO_InitStruct.Pull = GPIO_NOPULL;
  GPIO_InitStruct.Speed = GPIO_SPEED_FREQ_VERY_HIGH;
  HAL_GPIO_Init(DC_CAL_GPIO_Port, &GPIO_InitStruct);

  /*Configure GPIO pin : HALL3_Pin */
  GPIO_InitStruct.Pin = HALL3_Pin;
  GPIO_InitStruct.Mode = GPIO_MODE_IT_RISING_FALLING;
  GPIO_InitStruct.Pull = GPIO_PULLUP;
  HAL_GPIO_Init(HALL3_GPIO_Port, &GPIO_InitStruct);

  /*Configure GPIO pin : FAULT_Pin */
  GPIO_InitStruct.Pin = FAULT_Pin;
  GPIO_InitStruct.Mode = GPIO_MODE_INPUT;
  GPIO_InitStruct.Pull = GPIO_PULLUP;
  HAL_GPIO_Init(FAULT_GPIO_Port, &GPIO_InitStruct);

  /*Configure GPIO pins : HALL1_Pin HALL2_Pin */
  GPIO_InitStruct.Pin = HALL1_Pin|HALL2_Pin;
  GPIO_InitStruct.Mode = GPIO_MODE_IT_RISING_FALLING;
  GPIO_InitStruct.Pull = GPIO_PULLUP;
  HAL_GPIO_Init(GPIOB, &GPIO_InitStruct);

  /* EXTI interrupt init*/
  HAL_NVIC_SetPriority(EXTI9_5_IRQn, 5, 0);
  HAL_NVIC_EnableIRQ(EXTI9_5_IRQn);

  HAL_NVIC_SetPriority(EXTI15_10_IRQn, 5, 0);
  HAL_NVIC_EnableIRQ(EXTI15_10_IRQn);

}

/* USER CODE BEGIN 4 */
void HAL_UART_RxCpltCallback(UART_HandleTypeDef *huart)
{
    phase2_test_uart_rx_callback(huart);
}

void HAL_ADC_ConvHalfCpltCallback(ADC_HandleTypeDef *hadc)
{
    adc_sense_adc_half_cplt_callback(hadc);
}

void HAL_ADC_ConvCpltCallback(ADC_HandleTypeDef *hadc)
{
    adc_sense_adc_cplt_callback(hadc);
}

void HAL_ADC_ErrorCallback(ADC_HandleTypeDef *hadc)
{
   adc_sense_adc_error_callback(hadc);
}

void HAL_GPIO_EXTI_Callback(uint16_t GPIO_Pin)
{
    if ((GPIO_Pin == HALL1_Pin) ||
        (GPIO_Pin == HALL2_Pin) ||
        (GPIO_Pin == HALL3_Pin))
    {
        Hall_EXTI_Callback(GPIO_Pin, __HAL_TIM_GET_COUNTER(&htim5));
    }
}

/* USER CODE END 4 */

void Error_Handler(void)
{
  __disable_irq();
  while (1)
  {
  }
}
